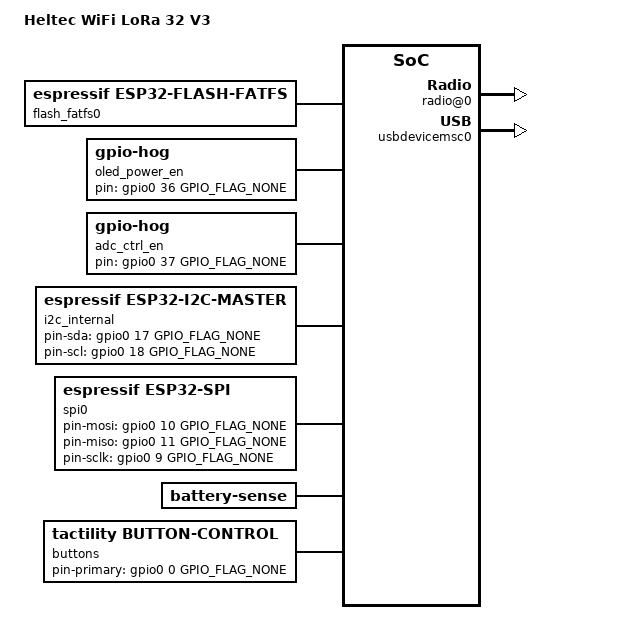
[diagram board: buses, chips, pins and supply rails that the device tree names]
/dts-v1/;

#include <tactility/bindings/root.h>
#include <tactility/bindings/esp32_ble.h>
#include <tactility/bindings/esp32_wifi_pinned.h>
#include <tactility/bindings/esp32_gpio.h>
#include <tactility/bindings/esp32_usbhost.h>
#include <tactility/bindings/esp32_i2c_master.h>
#include <tactility/bindings/esp32_spi.h>
#include <tactility/bindings/esp32_adc_oneshot.h>
#include <tactility/bindings/esp32_usbdevice.h>
#include <tactility/bindings/battery_sense.h>
#include <tactility/bindings/gpio_hog.h>
#include <bindings/button_control.h>
#include <bindings/ssd1306.h>
#include <bindings/sx1262.h>
#include <tactility/bindings/esp32_flash_fatfs.h>

/ {
	compatible = "root";
	model = "Heltec WiFi LoRa 32 V3";

	flash_fatfs0 {
		compatible = "espressif,esp32-flash-fatfs";
		partition-label = "data";
		mount-path = "/data";
	};

	wifi0 {
		compatible = "espressif,esp32-wifi-pinned";
	};

	ble0 {
		compatible = "espressif,esp32-ble";
	};

	gpio0 {
		compatible = "espressif,esp32-gpio";
		gpio-count = <49>;
	};

	// Board power-enable pins. Must be asserted before the dependent devices below start, since
	// devicetree devices are constructed and started during kernel_init(), earlier than the
	// deprecated HAL's initBoot() used to run. gpio-hog nodes run in declaration order, so they
	// must stay before their dependents.
	oled_power_en {
		// Active low (external pull-up on the board).
		compatible = "gpio-hog";
		pin = <&gpio0 36 GPIO_FLAG_NONE>;
		mode = <GPIO_HOG_MODE_OUTPUT_LOW>;
	};

	adc_ctrl_en {
		compatible = "gpio-hog";
		pin = <&gpio0 37 GPIO_FLAG_NONE>;
		mode = <GPIO_HOG_MODE_OUTPUT_LOW>;
	};

	i2c_internal {
		compatible = "espressif,esp32-i2c-master";
		port = <I2C_NUM_0>;
		clock-frequency = <200000>;
		pin-sda = <&gpio0 17 GPIO_FLAG_NONE>;
		pin-scl = <&gpio0 18 GPIO_FLAG_NONE>;

		display0 {
			compatible = "solomon,ssd1306";
			reg = <0x3C>;
			horizontal-resolution = <128>;
			vertical-resolution = <64>;
			pin-reset = <&gpio0 21 GPIO_FLAG_NONE>;
			// oled_power_en above only just asserted the OLED's power rail moments earlier in
			// the same kernel_init() pass - matches the deprecated HAL's old
			// enableOledPower()'s explicit 500ms settle delay before touching the chip.
			power-on-delay-ms = <500>;

			// Vendor bring-up sequence, carried over unchanged from the deprecated HAL's old
			// Ssd1306Display.cpp (its own comment: "esp_lcd_panel_init() ... doesn't configure
			// correctly for Heltec V3!"). Each byte is its own SSD1306 command - see
			// ssd1306-module's init-sequence binding property for the encoding.
			init-sequence = [
				0xAE          // Display off while configuring
				0xD5 0xF0     // Set oscillator frequency (~96 Hz) - must come early in the sequence
				0xA8 0x3F     // Set multiplex ratio (vertical-resolution - 1 = 64 - 1)
				0xD3 0x00     // Set display offset
				0x40          // Set display start line = 0
				0x8D 0x14     // Enable charge pump - must be before memory mode
				0x20 0x00     // Horizontal addressing mode
				0xA1          // Segment remap (Heltec V3 orientation)
				0xC8          // Scan direction reversed
				0xDA 0x12     // COM pin config (alternate, for 64-row displays)
				0x81 0xCF     // Contrast
				0xD9 0xF1     // Pre-charge period
				0xDB 0x40     // VCOMH deselect level
				0x21 0x00 0x7F // Column address range: 0 to (horizontal-resolution - 1)
				0x22 0x00 0x07 // Page address range: 0 to 7 (for a 64-row display)
				0xA7          // Display invert - required for this panel's wiring
				0x2E          // Stop scroll
				0xAF          // Display on
			];
		};
	};

	spi0 {
		compatible = "espressif,esp32-spi";
		host = <SPI2_HOST>;
		cs-gpios = <&gpio0 8 GPIO_FLAG_NONE>; // 0: LoRa radio (SX1262)
		pin-mosi = <&gpio0 10 GPIO_FLAG_NONE>;
		pin-miso = <&gpio0 11 GPIO_FLAG_NONE>;
		pin-sclk = <&gpio0 9 GPIO_FLAG_NONE>;

		// SX1262 LoRa transceiver: RST/BUSY/DIO1 = GPIO 12/13/14, TCXO 1.8 V,
		// DIO2 drives the antenna TX/RX switch.
		radio@0 {
			compatible = "semtech,sx1262";
			reg = <0>;
			pin-reset = <&gpio0 12 GPIO_FLAG_NONE>;
			pin-dio1 = <&gpio0 14 GPIO_FLAG_NONE>;
			pin-busy = <&gpio0 13 GPIO_FLAG_NONE>;
			tcxo-millivolts = <1800>;
			dio2-as-rf-switch;
		};
	};

	adc0 {
		compatible = "espressif,esp32-adc-oneshot";
		unit-id = <ADC_UNIT_1>;
		channels = <ADC_CHANNEL_3 ADC_ATTEN_DB_12 ADC_BITWIDTH_DEFAULT>;
	};

	// Matches the deprecated HAL's old Power.cpp: ADC1 CH3 behind a 2:1 divider, with +0.11
	// added as display voltage sag compensation (adcMultiplier = 2.11, so multiplier = 2110).
	// reference-voltage-mv is the nominal full-scale value at ADC_ATTEN_DB_12 (battery-sense has
	// no calibration path, unlike the old driver's raw-scaling formula).
	battery-sense {
		compatible = "battery-sense";
		io-channel = <&adc0 0>;
		reference-voltage-mv = <3300>;
		multiplier = <2110>;
	};

	buttons {
		compatible = "tactility,button-control";
		pin-primary = <&gpio0 0 GPIO_FLAG_NONE>;
	};

	usbdevice0 {
		compatible = "espressif,esp32-usbdevice";

		usbdevicemsc0 {
			compatible = "espressif,esp32-usbdevice-msc";
		};
	};

	usbhost0 {
		compatible = "espressif,esp32-usbhost";
		status = "disabled";
	};
};
